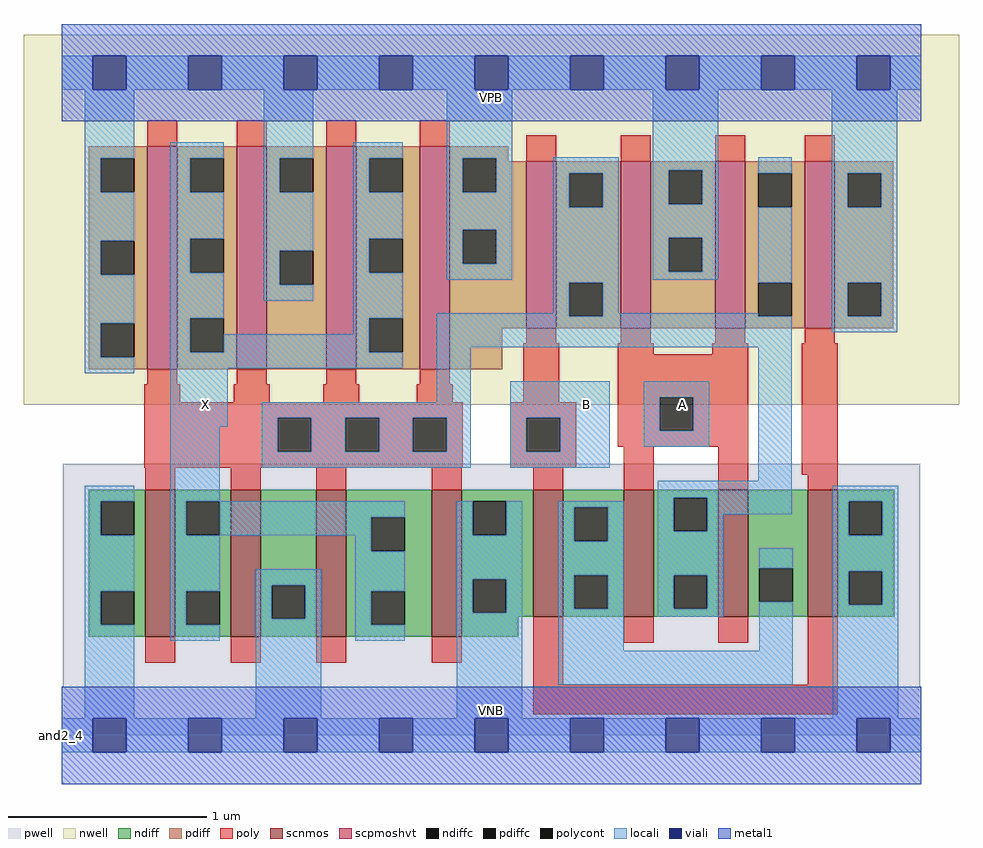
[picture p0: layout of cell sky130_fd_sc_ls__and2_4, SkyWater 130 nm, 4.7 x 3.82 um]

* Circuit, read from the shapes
.subckt sky130_fd_sc_ls__and2_4 A B VGND VNB VPB VPWR X
XM1 X n1 VGND VNB sky130_fd_pr__nfet_01v8 w=0.74 l=0.15 m=4
XM2 n2 B VGND VNB sky130_fd_pr__nfet_01v8 w=0.64 l=0.15 m=2
XM3 n1 A n2 VNB sky130_fd_pr__nfet_01v8 w=0.64 l=0.15 m=2
XM4 X n1 VPWR VPB sky130_fd_pr__pfet_01v8_hvt w=1.12 l=0.15 m=4
XM5 n1 B VPWR VPB sky130_fd_pr__pfet_01v8_hvt w=0.84 l=0.15 m=2
XM6 VPWR A n1 VPB sky130_fd_pr__pfet_01v8_hvt w=0.84 l=0.15 m=2
.ends

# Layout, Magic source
magic
tech sky130A
magscale 1 2
<< nwell >>
rect -38 332 902 704
<< pwell >>
rect 1 49 863 273
rect 0 0 864 49
<< scnmos >>
rect 84 99 114 247
rect 170 99 200 247
rect 256 99 286 247
rect 372 99 402 247
rect 474 119 504 247
rect 565 119 595 247
rect 660 119 690 247
rect 750 119 780 247
<< scpmoshvt >>
rect 86 368 116 592
rect 176 368 206 592
rect 266 368 296 592
rect 360 368 390 592
rect 467 409 497 577
rect 562 409 592 577
rect 657 409 687 577
rect 747 409 777 577
<< ndiff >>
rect 27 235 84 247
rect 27 201 39 235
rect 73 201 84 235
rect 27 145 84 201
rect 27 111 39 145
rect 73 111 84 145
rect 27 99 84 111
rect 114 235 170 247
rect 114 201 125 235
rect 159 201 170 235
rect 114 145 170 201
rect 114 111 125 145
rect 159 111 170 145
rect 114 99 170 111
rect 200 151 256 247
rect 200 117 211 151
rect 245 117 256 151
rect 200 99 256 117
rect 286 219 372 247
rect 286 185 311 219
rect 345 185 372 219
rect 286 145 372 185
rect 286 111 311 145
rect 345 111 372 145
rect 286 99 372 111
rect 402 235 474 247
rect 402 201 413 235
rect 447 201 474 235
rect 402 157 474 201
rect 402 123 413 157
rect 447 123 474 157
rect 402 119 474 123
rect 504 229 565 247
rect 504 195 515 229
rect 549 195 565 229
rect 504 161 565 195
rect 504 127 515 161
rect 549 127 565 161
rect 504 119 565 127
rect 595 239 660 247
rect 595 205 615 239
rect 649 205 660 239
rect 595 161 660 205
rect 595 127 615 161
rect 649 127 660 161
rect 595 119 660 127
rect 690 168 750 247
rect 690 134 701 168
rect 735 134 750 168
rect 690 119 750 134
rect 780 235 837 247
rect 780 201 791 235
rect 825 201 837 235
rect 780 165 837 201
rect 780 131 791 165
rect 825 131 837 165
rect 780 119 837 131
rect 402 99 459 119
<< pdiff >>
rect 27 580 86 592
rect 27 546 39 580
rect 73 546 86 580
rect 27 497 86 546
rect 27 463 39 497
rect 73 463 86 497
rect 27 414 86 463
rect 27 380 39 414
rect 73 380 86 414
rect 27 368 86 380
rect 116 580 176 592
rect 116 546 129 580
rect 163 546 176 580
rect 116 499 176 546
rect 116 465 129 499
rect 163 465 176 499
rect 116 419 176 465
rect 116 385 129 419
rect 163 385 176 419
rect 116 368 176 385
rect 206 580 266 592
rect 206 546 219 580
rect 253 546 266 580
rect 206 487 266 546
rect 206 453 219 487
rect 253 453 266 487
rect 206 368 266 453
rect 296 580 360 592
rect 296 546 309 580
rect 343 546 360 580
rect 296 499 360 546
rect 296 465 309 499
rect 343 465 360 499
rect 296 419 360 465
rect 296 385 309 419
rect 343 385 360 419
rect 296 368 360 385
rect 390 580 449 592
rect 390 546 403 580
rect 437 577 449 580
rect 437 546 467 577
rect 390 508 467 546
rect 390 474 403 508
rect 437 474 467 508
rect 390 409 467 474
rect 497 565 562 577
rect 497 531 510 565
rect 544 531 562 565
rect 497 455 562 531
rect 497 421 510 455
rect 544 421 562 455
rect 497 409 562 421
rect 592 568 657 577
rect 592 534 610 568
rect 644 534 657 568
rect 592 500 657 534
rect 592 466 610 500
rect 644 466 657 500
rect 592 409 657 466
rect 687 565 747 577
rect 687 531 700 565
rect 734 531 747 565
rect 687 455 747 531
rect 687 421 700 455
rect 734 421 747 455
rect 687 409 747 421
rect 777 565 836 577
rect 777 531 790 565
rect 824 531 836 565
rect 777 455 836 531
rect 777 421 790 455
rect 824 421 836 455
rect 777 409 836 421
rect 390 368 443 409
<< ndiffc >>
rect 39 201 73 235
rect 39 111 73 145
rect 125 201 159 235
rect 125 111 159 145
rect 211 117 245 151
rect 311 185 345 219
rect 311 111 345 145
rect 413 201 447 235
rect 413 123 447 157
rect 515 195 549 229
rect 515 127 549 161
rect 615 205 649 239
rect 615 127 649 161
rect 701 134 735 168
rect 791 201 825 235
rect 791 131 825 165
<< pdiffc >>
rect 39 546 73 580
rect 39 463 73 497
rect 39 380 73 414
rect 129 546 163 580
rect 129 465 163 499
rect 129 385 163 419
rect 219 546 253 580
rect 219 453 253 487
rect 309 546 343 580
rect 309 465 343 499
rect 309 385 343 419
rect 403 546 437 580
rect 403 474 437 508
rect 510 531 544 565
rect 510 421 544 455
rect 610 534 644 568
rect 610 466 644 500
rect 700 531 734 565
rect 700 421 734 455
rect 790 531 824 565
rect 790 421 824 455
<< poly >>
rect 86 592 116 618
rect 176 592 206 618
rect 266 592 296 618
rect 360 592 390 618
rect 467 577 497 603
rect 562 577 592 603
rect 657 577 687 603
rect 747 577 777 603
rect 467 394 497 409
rect 562 394 592 409
rect 657 394 687 409
rect 747 394 777 409
rect 86 353 116 368
rect 176 353 206 368
rect 266 353 296 368
rect 360 353 390 368
rect 83 335 119 353
rect 173 335 209 353
rect 263 335 299 353
rect 357 335 393 353
rect 464 335 500 394
rect 559 383 595 394
rect 654 383 690 394
rect 559 340 690 383
rect 83 319 403 335
rect 83 285 217 319
rect 251 285 285 319
rect 319 285 353 319
rect 387 285 403 319
rect 83 269 403 285
rect 451 319 517 335
rect 451 285 467 319
rect 501 285 517 319
rect 559 306 601 340
rect 635 306 690 340
rect 559 290 690 306
rect 451 269 517 285
rect 84 247 114 269
rect 170 247 200 269
rect 256 247 286 269
rect 372 247 402 269
rect 474 247 504 269
rect 565 247 595 290
rect 660 247 690 290
rect 744 262 780 394
rect 750 247 780 262
rect 84 73 114 99
rect 170 73 200 99
rect 256 73 286 99
rect 372 73 402 99
rect 474 51 504 119
rect 565 93 595 119
rect 660 93 690 119
rect 750 51 780 119
rect 474 21 780 51
<< polycont >>
rect 217 285 251 319
rect 285 285 319 319
rect 353 285 387 319
rect 467 285 501 319
rect 601 306 635 340
<< locali >>
rect 0 649 31 683
rect 65 649 127 683
rect 161 649 223 683
rect 257 649 319 683
rect 353 649 415 683
rect 449 649 511 683
rect 545 649 607 683
rect 641 649 703 683
rect 737 649 799 683
rect 833 649 864 683
rect 23 580 73 649
rect 23 546 39 580
rect 23 497 73 546
rect 23 463 39 497
rect 23 414 73 463
rect 23 380 39 414
rect 23 364 73 380
rect 109 580 163 596
rect 109 546 129 580
rect 109 499 163 546
rect 109 465 129 499
rect 109 419 163 465
rect 203 580 253 649
rect 203 546 219 580
rect 203 487 253 546
rect 203 453 219 487
rect 203 437 253 453
rect 293 580 343 596
rect 293 546 309 580
rect 293 499 343 546
rect 293 465 309 499
rect 109 385 129 419
rect 293 419 343 465
rect 387 580 453 649
rect 387 546 403 580
rect 437 546 453 580
rect 387 508 453 546
rect 387 474 403 508
rect 437 474 453 508
rect 387 458 453 474
rect 494 565 560 581
rect 494 531 510 565
rect 544 531 560 565
rect 494 455 560 531
rect 594 568 660 649
rect 594 534 610 568
rect 644 534 660 568
rect 594 500 660 534
rect 594 466 610 500
rect 644 466 660 500
rect 594 458 660 466
rect 700 565 734 581
rect 494 424 510 455
rect 293 403 309 419
rect 163 385 309 403
rect 109 369 343 385
rect 377 421 510 424
rect 544 424 560 455
rect 700 455 734 531
rect 544 421 700 424
rect 377 390 734 421
rect 774 565 840 649
rect 774 531 790 565
rect 824 531 840 565
rect 774 455 840 531
rect 774 421 790 455
rect 824 421 840 455
rect 774 405 840 421
rect 109 310 167 369
rect 377 335 411 390
rect 201 319 411 335
rect 23 235 73 251
rect 23 201 39 235
rect 23 145 73 201
rect 23 111 39 145
rect 23 17 73 111
rect 109 235 159 310
rect 201 285 217 319
rect 251 285 285 319
rect 319 285 353 319
rect 387 285 411 319
rect 201 269 411 285
rect 451 319 551 356
rect 451 285 467 319
rect 501 285 551 319
rect 585 340 651 356
rect 585 306 601 340
rect 635 306 651 340
rect 585 290 651 306
rect 451 269 551 285
rect 700 256 734 390
rect 599 239 734 256
rect 109 201 125 235
rect 159 219 345 235
rect 159 201 311 219
rect 109 145 159 201
rect 295 185 311 201
rect 109 111 125 145
rect 109 95 159 111
rect 195 151 261 167
rect 195 117 211 151
rect 245 117 261 151
rect 195 17 261 117
rect 295 145 345 185
rect 295 111 311 145
rect 295 95 345 111
rect 397 201 413 235
rect 447 201 463 235
rect 397 157 463 201
rect 397 123 413 157
rect 447 123 463 157
rect 397 17 463 123
rect 499 229 565 235
rect 499 195 515 229
rect 549 195 565 229
rect 499 161 565 195
rect 499 127 515 161
rect 549 127 565 161
rect 499 85 565 127
rect 599 205 615 239
rect 649 222 734 239
rect 775 235 841 251
rect 649 205 665 222
rect 599 161 665 205
rect 775 201 791 235
rect 825 201 841 235
rect 599 127 615 161
rect 649 127 665 161
rect 599 119 665 127
rect 701 168 735 188
rect 701 85 735 134
rect 499 51 735 85
rect 775 165 841 201
rect 775 131 791 165
rect 825 131 841 165
rect 775 17 841 131
rect 0 -17 31 17
rect 65 -17 127 17
rect 161 -17 223 17
rect 257 -17 319 17
rect 353 -17 415 17
rect 449 -17 511 17
rect 545 -17 607 17
rect 641 -17 703 17
rect 737 -17 799 17
rect 833 -17 864 17
<< viali >>
rect 31 649 65 683
rect 127 649 161 683
rect 223 649 257 683
rect 319 649 353 683
rect 415 649 449 683
rect 511 649 545 683
rect 607 649 641 683
rect 703 649 737 683
rect 799 649 833 683
rect 31 -17 65 17
rect 127 -17 161 17
rect 223 -17 257 17
rect 319 -17 353 17
rect 415 -17 449 17
rect 511 -17 545 17
rect 607 -17 641 17
rect 703 -17 737 17
rect 799 -17 833 17
<< metal1 >>
rect 0 683 864 715
rect 0 649 31 683
rect 65 649 127 683
rect 161 649 223 683
rect 257 649 319 683
rect 353 649 415 683
rect 449 649 511 683
rect 545 649 607 683
rect 641 649 703 683
rect 737 649 799 683
rect 833 649 864 683
rect 0 617 864 649
rect 0 17 864 49
rect 0 -17 31 17
rect 65 -17 127 17
rect 161 -17 223 17
rect 257 -17 319 17
rect 353 -17 415 17
rect 449 -17 511 17
rect 545 -17 607 17
rect 641 -17 703 17
rect 737 -17 799 17
rect 833 -17 864 17
rect 0 -49 864 -17
<< labels >>
rlabel comment s 0 0 0 0 4 and2_4
flabel pwell s 0 0 864 49 0 FreeSans 200 0 0 0 VNB
port 4 nsew ground bidirectional
flabel nwell s 0 617 864 666 0 FreeSans 200 0 0 0 VPB
port 5 nsew power bidirectional
flabel metal1 s 0 617 864 666 0 FreeSans 340 0 0 0 VPWR
port 6 nsew power bidirectional abutment
flabel metal1 s 0 0 864 49 0 FreeSans 340 0 0 0 VGND
port 3 nsew ground bidirectional abutment
flabel locali s 127 316 161 350 0 FreeSans 340 0 0 0 X
port 7 nsew signal output
flabel locali s 607 316 641 350 0 FreeSans 340 0 0 0 A
port 1 nsew signal input
flabel locali s 511 316 545 350 0 FreeSans 340 0 0 0 B
port 2 nsew signal input
<< properties >>
string LEFsite unit
string LEFclass CORE
string FIXED_BBOX 0 0 864 666
string GDS_FILE $PDKPATH/libs.ref/sky130_fd_sc_ls/gds/sky130_fd_sc_ls.gds
string LEFsymmetry X Y
string GDS_END 2194650
string GDS_START 2187108
<< end >>
